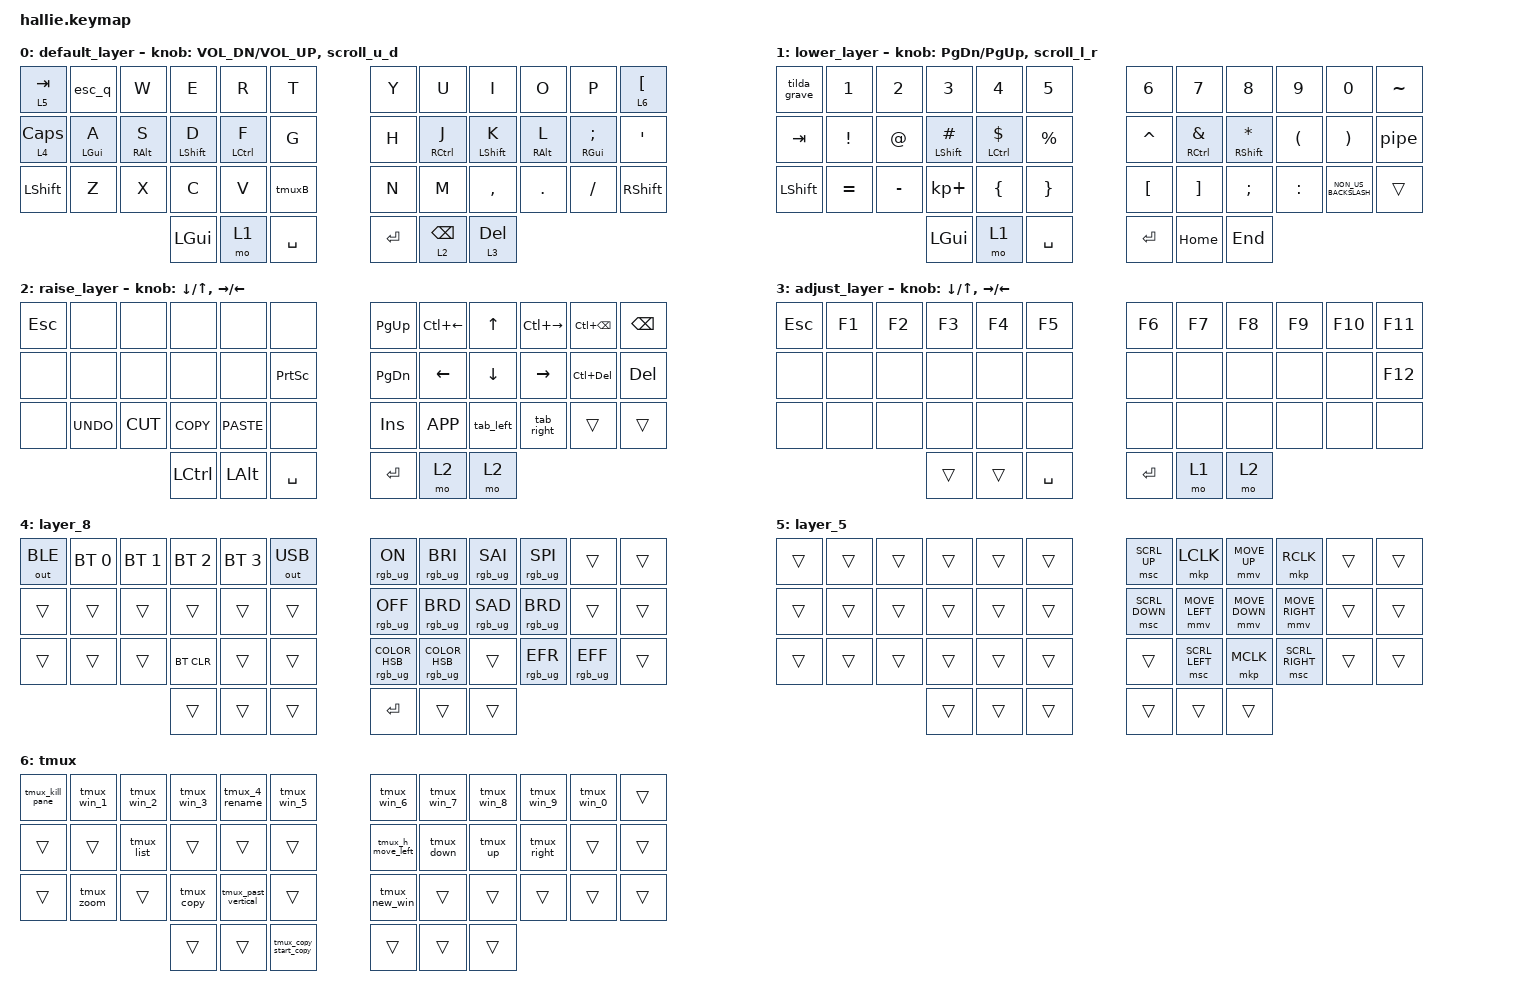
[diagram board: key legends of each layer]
#undef ZMK_BEHAVIORS_KEEP_ALL

#define ZMK_BEHAVIORS_KEEP_IND
#define ZMK_BEHAVIORS_KEEP_BT
#define ZMK_BEHAVIORS_KEEP_GRESC
#define ZMK_BEHAVIORS_KEEP_SYS_RESET
#define ZMK_BEHAVIORS_KEEP_BOOTLOADER
#define ZMK_BEHAVIORS_KEEP_CAPS_WORD
#define ZMK_BEHAVIORS_KEEP_KEY_REPEAT
#define ZMK_BEHAVIORS_KEEP_KT
#define ZMK_BEHAVIORS_KEEP_LT
#define ZMK_BEHAVIORS_KEEP_MT
#define ZMK_BEHAVIORS_KEEP_SK
#define ZMK_BEHAVIORS_KEEP_STICKY_LAYER
#define ZMK_BEHAVIORS_KEEP_TO
#define ZMK_BEHAVIORS_KEEP_TOG
#define ZMK_BEHAVIORS_KEEP_TRANS

#include <dt-bindings/zmk/indicators.h>
#include <behaviors.dtsi>
#include <dt-bindings/zmk/bt.h>
#include <dt-bindings/zmk/keys.h>
#include <dt-bindings/zmk/outputs.h>
#include <dt-bindings/zmk/pointing.h>
#include <dt-bindings/zmk/rgb.h>

#define DEF 0
#define LWR 1
#define RSE 2
#define ADJ 3

&lt { quick_tap_ms = <200>; };

&mt {
    bindings = <&kp>, <&kp>;

    flavor = "tap-preferred";
};

/ {
    macros {
        /* --- existing --- */

        tab_right: tab_right {
            compatible = "zmk,behavior-macro";
            #binding-cells = <0>;
            bindings = <&kp LC(TAB)>;
            label = "TAB_RIGHT";
        };

        tab_left: tab_left {
            compatible = "zmk,behavior-macro";
            #binding-cells = <0>;
            bindings = <&kp LC(LS(TAB))>;
            label = "TAB_LEFT";
        };

        /* --- tmux default-friendly --- */

        tmux_left: tmux_left {
            compatible = "zmk,behavior-macro";
            #binding-cells = <0>;
            bindings = <&kp LC(B) &kp LEFT_ARROW>;
            label = "TMUX_PANE_LEFT";
        };

        tmux_down: tmux_down {
            compatible = "zmk,behavior-macro";
            #binding-cells = <0>;
            bindings = <&kp LC(B) &kp DOWN_ARROW>;
            label = "TMUX_PANE_DOWN";
        };

        tmux_up: tmux_up {
            compatible = "zmk,behavior-macro";
            #binding-cells = <0>;
            bindings = <&kp LC(B) &kp UP_ARROW>;
            label = "TMUX_PANE_UP";
        };

        tmux_right: tmux_right {
            compatible = "zmk,behavior-macro";
            #binding-cells = <0>;
            bindings = <&kp LC(B) &kp RIGHT_ARROW>;
            label = "TMUX_PANE_RIGHT";
        };

        /* split: default tmux uses % and " */

        tmux_split_h: tmux_split_h {
            compatible = "zmk,behavior-macro";
            #binding-cells = <0>;
            bindings = <&kp LC(B) &kp PERCENT>;      /* % => split-window -h */
            label = "TMUX_SPLIT_H";
        };

        tmux_split_v: tmux_split_v {
            compatible = "zmk,behavior-macro";
            #binding-cells = <0>;
            bindings = <&kp LC(B) &kp LS(SQT)>;      /* " => split-window -v */
            label = "TMUX_SPLIT_V";
        };

        tmux_new_win: tmux_new_win {
            compatible = "zmk,behavior-macro";
            #binding-cells = <0>;
            bindings = <&kp LC(B) &kp C>;
            label = "TMUX_NEW_WIN";
        };

        tmux_next_win: tmux_next_win {
            compatible = "zmk,behavior-macro";
            #binding-cells = <0>;
            bindings = <&kp LC(B) &kp N>;
            label = "TMUX_NEXT_WIN";
        };

        tmux_prev_win: tmux_prev_win {
            compatible = "zmk,behavior-macro";
            #binding-cells = <0>;
            bindings = <&kp LC(B) &kp P>;
            label = "TMUX_PREV_WIN";
        };

        tmux_kill_pane: tmux_kill_pane {
            compatible = "zmk,behavior-macro";
            #binding-cells = <0>;
            bindings = <&kp LC(B) &kp X>;
            label = "TMUX_KILL_PANE";
        };

        tmux_zoom: tmux_zoom {
            compatible = "zmk,behavior-macro";
            #binding-cells = <0>;
            bindings = <&kp LC(B) &kp Z>;
            label = "TMUX_ZOOM";
        };

        tmux_detach: tmux_detach {
            compatible = "zmk,behavior-macro";
            #binding-cells = <0>;
            bindings = <&kp LC(B) &kp D>;
            label = "TMUX_DETACH";
        };

        tmux_rename: tmux_rename {
            compatible = "zmk,behavior-macro";
            #binding-cells = <0>;
            bindings = <&kp LC(B) &kp COMMA>;        /* prefix + , */
            label = "TMUX_RENAME";
        };

        tmux_win_1: tmux_win_1 {
            compatible = "zmk,behavior-macro";
            #binding-cells = <0>;
            bindings = <&kp LC(B) &kp N1>;
            label = "TMUX_WIN_1";
        };

        tmux_win_2: tmux_win_2 {
            compatible = "zmk,behavior-macro";
            #binding-cells = <0>;
            bindings = <&kp LC(B) &kp N2>;
            label = "TMUX_WIN_2";
        };

        tmux_win_3: tmux_win_3 {
            compatible = "zmk,behavior-macro";
            #binding-cells = <0>;
            bindings = <&kp LC(B) &kp N3>;
            label = "TMUX_WIN_3";
        };

        tmux_win_4: tmux_win_4 {
            compatible = "zmk,behavior-macro";
            #binding-cells = <0>;
            bindings = <&kp LC(B) &kp N4>;
            label = "TMUX_WIN_4";
        };

        tmux_win_5: tmux_win_5 {
            compatible = "zmk,behavior-macro";
            #binding-cells = <0>;
            bindings = <&kp LC(B) &kp N5>;
            label = "TMUX_WIN_5";
        };

        tmux_win_6: tmux_win_6 {
            compatible = "zmk,behavior-macro";
            #binding-cells = <0>;
            bindings = <&kp LC(B) &kp N6>;
            label = "TMUX_WIN_6";
        };

        tmux_win_7: tmux_win_7 {
            compatible = "zmk,behavior-macro";
            #binding-cells = <0>;
            bindings = <&kp LC(B) &kp N7>;
            label = "TMUX_WIN_7";
        };

        tmux_win_8: tmux_win_8 {
            compatible = "zmk,behavior-macro";
            #binding-cells = <0>;
            bindings = <&kp LC(B) &kp N8>;
            label = "TMUX_WIN_8";
        };

        tmux_win_9: tmux_win_9 {
            compatible = "zmk,behavior-macro";
            #binding-cells = <0>;
            bindings = <&kp LC(B) &kp N9>;
            label = "TMUX_WIN_9";
        };

        tmux_win_0: tmux_win_0 {
            compatible = "zmk,behavior-macro";
            #binding-cells = <0>;
            bindings = <&kp LC(B) &kp N0>;
            label = "TMUX_WIN_0";
        };

        tmux_past: tmux_past {
            compatible = "zmk,behavior-macro";
            #binding-cells = <0>;
            bindings = <&kp LC(B) &kp RIGHT_BRACKET>;
            label = "TMUX_PAST";
        };

        tmux_sessions: tmux_sessions {
            compatible = "zmk,behavior-macro";
            #binding-cells = <0>;
            bindings = <&kp LC(B) &kp LS(S)>;
            label = "TMUX_SESSIONS";
        };

        tmux_start_c: tmux_start_copy {
            compatible = "zmk,behavior-macro";
            #binding-cells = <0>;
            bindings = <&kp RC(SPACE)>;
            label = "TMUX_START_COPY";
        };

        tmux_c_clip: tmux_c_clip {
            compatible = "zmk,behavior-macro";
            #binding-cells = <0>;
            bindings = <&kp LC(W)>;
            label = "TMUX_C_CLIP";
        };

        tmux_copy: tmux_copy {
            compatible = "zmk,behavior-macro";
            #binding-cells = <0>;
            bindings = <&kp LC(B) &kp LEFT_BRACKET>;
            label = "TMUX_COPY";
        };

        tmux_w_list: tmux_w_list {
            compatible = "zmk,behavior-macro";
            #binding-cells = <0>;
            bindings = <&kp LC(B) &kp W>;
            label = "TMUX_W_LIST";
        };
    };

    behaviors {
        insert_up: insert_up {
            compatible = "zmk,behavior-tap-dance";
            label = "INSERT_UP";
            #binding-cells = <0>;
            tapping-term-ms = <200>;
            bindings = <&kp UP_ARROW>, <&kp INSERT>;
        };

        esc_q: esc_q {
            compatible = "zmk,behavior-tap-dance";
            label = "ESC_Q";
            #binding-cells = <0>;
            bindings = <&kp Q>, <&kp ESCAPE>;
        };

        tmuxB: tmuxB {
            compatible = "zmk,behavior-tap-dance";
            label = "TMUXB";
            #binding-cells = <0>;
            bindings = <&kp B>, <&kp LC(B)>;
        };

        pipe: pipe {
            compatible = "zmk,behavior-tap-dance";
            label = "PIPE";
            #binding-cells = <0>;
            bindings = <&kp PIPE>, <&kp BACKSLASH>;
        };

        tilda_grave: tilda_grave {
            compatible = "zmk,behavior-tap-dance";
            label = "TILDA_GRAVE";
            #binding-cells = <0>;
            bindings = <&kp TILDE>, <&kp GRAVE>;
        };

        tmux_h_move_left: tmux_h_move_left {
            compatible = "zmk,behavior-tap-dance";
            label = "TMUX_H_MOVE_LEFT";
            #binding-cells = <0>;
            bindings = <&tmux_left>, <&tmux_split_h>;
        };

        tmux_past_vertical: tmux_past_vertical {
            compatible = "zmk,behavior-tap-dance";
            label = "TMUX_PAST_VERTICAL";
            #binding-cells = <0>;
            bindings = <&tmux_past>, <&tmux_split_v>;
        };

        tmux_4_rename: tmux_4_rename {
            compatible = "zmk,behavior-tap-dance";
            label = "TMUX_4_RENAME";
            #binding-cells = <0>;
            bindings = <&tmux_win_4>, <&tmux_rename>;
        };

        tmux_copy_start_copy: tmux_copy_start_copy {
            compatible = "zmk,behavior-tap-dance";
            label = "TMUX_COPY_START_COPY";
            #binding-cells = <0>;
            bindings = <&tmux_start_c>, <&tmux_c_clip>;
        };

        tmux_list: tmux_list {
            compatible = "zmk,behavior-tap-dance";
            label = "TMUX_LIST";
            #binding-cells = <0>;
            bindings = <&tmux_w_list>, <&tmux_sessions>;
        };
    };

    keymap {
        compatible = "zmk,keymap";

        default_layer {
            bindings = <
&lt 5 TAB       &esc_q          &kp W            &kp E             &kp R               &kp T        &kp Y      &kp U                &kp I             &kp O            &kp P                    &lt 6 LEFT_BRACKET
&lt 4 CAPSLOCK  &mt LEFT_GUI A  &mt RIGHT_ALT S  &mt LEFT_SHIFT D  &mt LEFT_CONTROL F  &kp G        &kp H      &mt RIGHT_CONTROL J  &mt LEFT_SHIFT K  &mt RIGHT_ALT L  &mt RIGHT_GUI SEMICOLON  &kp SQT
&kp LEFT_SHIFT  &kp Z           &kp X            &kp C             &kp V               &tmuxB       &kp N      &kp M                &kp COMMA         &kp DOT          &kp SLASH                &kp RIGHT_SHIFT
                                                 &kp LGUI          &mo 1               &kp SPACE    &kp ENTER  &lt 2 BACKSPACE      &lt 3 DELETE
            >;

            sensor-bindings = <&inc_dec_kp C_VOL_DN C_VOL_UP &scroll_u_d>;
        };

        lower_layer {
            bindings = <
&tilda_grave  &kp NUMBER_1     &kp NUMBER_2  &kp NUMBER_3         &kp NUMBER_4             &kp N5         &kp NUMBER_6      &kp N7                       &kp N8                    &kp N9                &kp N0                 &kp TILDE
&kp TAB       &kp EXCLAMATION  &kp AT_SIGN   &mt LEFT_SHIFT HASH  &mt LEFT_CONTROL DOLLAR  &kp PERCENT    &kp CARET         &mt RIGHT_CONTROL AMPERSAND  &mt RIGHT_SHIFT ASTERISK  &kp LEFT_PARENTHESIS  &kp RIGHT_PARENTHESIS  &pipe
&kp LSHFT     &kp EQUAL        &kp MINUS     &kp KP_PLUS          &kp LBRC                 &kp RBRC       &kp LEFT_BRACKET  &kp RIGHT_BRACKET            &kp SEMICOLON             &kp COLON             &kp NON_US_BACKSLASH   &trans
                                             &kp LEFT_GUI         &mo 1                    &kp SPACE      &kp ENTER         &kp HOME                     &kp END
            >;

            sensor-bindings = <&inc_dec_kp PG_DN PG_UP &scroll_l_r>;
        };

        raise_layer {
            bindings = <
&kp ESC  &none       &none      &none             &none         &none              &kp PAGE_UP    &kp LC(LEFT_ARROW)  &kp UP_ARROW    &kp LC(RIGHT)  &kp LC(BACKSPACE)  &kp BACKSPACE
&none    &none       &none      &none             &none         &kp PRINTSCREEN    &kp PAGE_DOWN  &kp LEFT_ARROW      &kp DOWN_ARROW  &kp RIGHT      &kp LC(DELETE)     &kp DELETE
&none    &kp K_UNDO  &kp K_CUT  &kp K_COPY        &kp K_PASTE   &none              &kp INSERT     &kp K_APP           &tab_left       &tab_right     &trans             &trans
                                &kp LEFT_CONTROL  &kp LEFT_ALT  &kp SPACE          &kp ENTER      &mo 2               &mo 2
            >;

            sensor-bindings = <&inc_dec_kp DOWN_ARROW UP_ARROW &inc_dec_kp RIGHT_ARROW LEFT_ARROW>;
        };

        adjust_layer {
            bindings = <
&kp ESCAPE  &kp F1  &kp F2  &kp F3  &kp F4  &kp F5       &kp F6     &kp F7  &kp F8  &kp F9  &kp F10  &kp F11
&none       &none   &none   &none   &none   &none        &none      &none   &none   &none   &none    &kp F12
&none       &none   &none   &none   &none   &none        &none      &none   &none   &none   &none    &none
                            &trans  &trans  &kp SPACE    &kp ENTER  &mo 1   &mo 2
            >;

            sensor-bindings = <&inc_dec_kp DOWN_ARROW UP_ARROW &inc_dec_kp RIGHT_ARROW LEFT_ARROW>;
        };

        layer_8 {
            bindings = <
&out OUT_BLE  &bt BT_SEL 0  &bt BT_SEL 1  &bt BT_SEL 2  &bt BT_SEL 3  &out OUT_USB    &rgb_ug RGB_ON                    &rgb_ug RGB_BRI                   &rgb_ug RGB_SAI  &rgb_ug RGB_SPI  &trans           &trans
&trans        &trans        &trans        &trans        &trans        &trans          &rgb_ug RGB_OFF                   &rgb_ug RGB_BRD                   &rgb_ug RGB_SAD  &rgb_ug RGB_BRD  &trans           &trans
&trans        &trans        &trans        &bt BT_CLR    &trans        &trans          &rgb_ug RGB_COLOR_HSB(228,81,48)  &rgb_ug RGB_COLOR_HSB(142,89,48)  &trans           &rgb_ug RGB_EFR  &rgb_ug RGB_EFF  &trans
                                          &trans        &trans        &trans          &kp ENTER                         &trans                            &trans
            >;
        };

        layer_5 {
            bindings = <
&trans  &trans  &trans  &trans  &trans  &trans    &msc SCRL_UP    &mkp LCLK       &mmv MOVE_UP    &mkp RCLK        &trans  &trans
&trans  &trans  &trans  &trans  &trans  &trans    &msc SCRL_DOWN  &mmv MOVE_LEFT  &mmv MOVE_DOWN  &mmv MOVE_RIGHT  &trans  &trans
&trans  &trans  &trans  &trans  &trans  &trans    &trans          &msc SCRL_LEFT  &mkp MCLK       &msc SCRL_RIGHT  &trans  &trans
                        &trans  &trans  &trans    &trans          &trans          &trans
            >;
        };

        tmux {
            bindings = <
&tmux_kill_pane  &tmux_win_1  &tmux_win_2  &tmux_win_3  &tmux_4_rename       &tmux_win_5              &tmux_win_6        &tmux_win_7  &tmux_win_8  &tmux_win_9  &tmux_win_0  &trans
&trans           &trans       &tmux_list   &trans       &trans               &trans                   &tmux_h_move_left  &tmux_down   &tmux_up     &tmux_right  &trans       &trans
&trans           &tmux_zoom   &trans       &tmux_copy   &tmux_past_vertical  &trans                   &tmux_new_win      &trans       &trans       &trans       &trans       &trans
                                           &trans       &trans               &tmux_copy_start_copy    &trans             &trans       &trans
            >;
        };
    };
};
